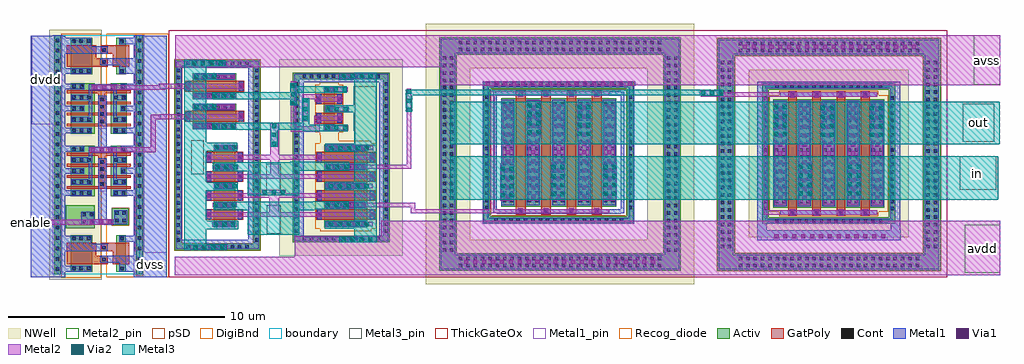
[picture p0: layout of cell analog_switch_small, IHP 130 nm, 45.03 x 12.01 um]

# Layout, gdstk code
from math import pi, radians
import gdstk
lib = gdstk.Library(unit=1e-6, precision=1e-09)
def R(c, l, rs):  # rectangles x0, y0, x1, y1
    for r in rs: c.add(gdstk.rectangle(r[:2], r[2:], *l))
def A(c, l, x, y, w, h, nx, ny, dx, dy):  # array of equal rectangles
    R(c, l, [(x+i*dx, y+j*dy, x+i*dx+w, y+j*dy+h) for i in range(nx) for j in range(ny)])
def P(c, l, *ps):  # polygons
    for p in ps: c.add(gdstk.Polygon(p, *l))
Activ = (1, 0)
GatPoly = (5, 0)
Cont = (6, 0)
Metal1 = (8, 0)
Metal1_pin = (8, 2)
Metal2 = (10, 0)
Metal2_pin = (10, 2)
pSD = (14, 0)
DigiBnd = (16, 0)
Via1 = (19, 0)
Via2 = (29, 0)
Metal3 = (30, 0)
Metal3_pin = (30, 2)
NWell = (31, 0)
ThickGateOx = (44, 0)
Recog_diode = (99, 31)
boundary = (189, 4)

via_y6zd6n = lib.new_cell('via_Y6ZD6N')
R(via_y6zd6n, Metal2, [(-0.1,-0.555,0.1,0.555)])
A(via_y6zd6n, Via2, -0.095, -0.505, 0.19, 0.19, 1, 3, 0, 0.41)
R(via_y6zd6n, Metal3, [(-0.145,-0.51,0.145,0.51)])

via_y6z86n = lib.new_cell('via_Y6Z86N')
R(via_y6z86n, Metal2, [(-0.1,-1.105,0.1,1.105)])
A(via_y6z86n, Via2, -0.095, -0.915, 0.19, 0.19, 1, 5, 0, 0.41)
R(via_y6z86n, Metal3, [(-0.145,-1.06,0.145,1.06)])

via_qp3u7v = lib.new_cell('via_QP3U7V')
R(via_qp3u7v, Metal1, [(-0.145,-0.825,0.145,0.825)])
R(via_qp3u7v, Metal2, [(-0.1,-0.865,0.1,0.865)])
A(via_qp3u7v, Via1, -0.095, -0.71, 0.19, 0.19, 1, 4, 0, 0.41)
A(via_qp3u7v, Via2, -0.095, -0.71, 0.19, 0.19, 1, 4, 0, 0.41)
R(via_qp3u7v, Metal3, [(-0.145,-0.82,0.145,0.82)])

sg13_hv_pmos_xrp95e = lib.new_cell('sg13_hv_pmos_XRP95E')
R(sg13_hv_pmos_xrp95e, Activ, [(-1.91,-1,1.91,1)])
A(sg13_hv_pmos_xrp95e, GatPoly, -1.57, -1.37, 0.5, 2.74, 4, 1, 0.88, 0)
A(sg13_hv_pmos_xrp95e, Cont, -1.4, -1.3, 0.16, 0.16, 4, 2, 0.88, 2.44)
A(sg13_hv_pmos_xrp95e, Cont, -1.84, -0.93, 0.16, 0.16, 5, 6, 0.88, 0.34)
A(sg13_hv_pmos_xrp95e, Metal1, -1.535, -1.325, 0.43, 0.21, 4, 2, 0.88, 2.44)
A(sg13_hv_pmos_xrp95e, Metal1, -1.91, -0.93, 0.3, 1.86, 5, 1, 0.88, 0)
A(sg13_hv_pmos_xrp95e, Metal2, -1.43, -1.365, 0.22, 0.29, 4, 2, 0.88, 2.44)
A(sg13_hv_pmos_xrp95e, Metal2, -1.86, -0.97, 0.2, 1.94, 5, 1, 0.88, 0)
R(sg13_hv_pmos_xrp95e, pSD, [(-1.97,-1.4,1.97,-1.18), (-2.09,-1.18,2.09,1.18), (-1.97,1.18,1.97,1.4)])
A(sg13_hv_pmos_xrp95e, Via1, -1.415, -1.315, 0.19, 0.19, 4, 2, 0.88, 2.44)
A(sg13_hv_pmos_xrp95e, Via1, -1.855, -0.915, 0.19, 0.19, 5, 5, 0.88, 0.41)
R(sg13_hv_pmos_xrp95e, NWell, [(-2.53,-1.62,2.53,1.62)])
R(sg13_hv_pmos_xrp95e, ThickGateOx, [(-2.18,-1.27,2.18,1.27)])
sg13_hv_pmos_xrp95e.add(gdstk.Label('D0', (-1.76,0), layer=8, texttype=25))
sg13_hv_pmos_xrp95e.add(gdstk.Label('G0', (-1.32,1.22), layer=8, texttype=25))
sg13_hv_pmos_xrp95e.add(gdstk.Label('S1', (-0.88,0), layer=8, texttype=25))
sg13_hv_pmos_xrp95e.add(gdstk.Label('G1', (-0.44,1.22), layer=8, texttype=25))
sg13_hv_pmos_xrp95e.add(gdstk.Label('D2', (0,0), layer=8, texttype=25))
sg13_hv_pmos_xrp95e.add(gdstk.Label('G2', (0.44,1.22), layer=8, texttype=25))
sg13_hv_pmos_xrp95e.add(gdstk.Label('S3', (0.88,0), layer=8, texttype=25))
sg13_hv_pmos_xrp95e.add(gdstk.Label('G3', (1.32,1.22), layer=8, texttype=25))

sg13_hv_pmos_2tuklb = lib.new_cell('sg13_hv_pmos_2TUKLB')
R(sg13_hv_pmos_2tuklb, Activ, [(-1.03,-0.25,1.03,0.25)])
R(sg13_hv_pmos_2tuklb, GatPoly, [(-0.69,-0.62,-0.19,0.62), (0.19,-0.62,0.69,0.62)])
A(sg13_hv_pmos_2tuklb, Cont, -0.96, -0.08, 0.16, 0.16, 3, 1, 0.88, 0)
R(sg13_hv_pmos_2tuklb, Cont, [(-0.52,-0.55,-0.36,-0.39), (0.36,-0.55,0.52,-0.39), (-0.52,0.39,-0.36,0.55), (0.36,0.39,0.52,0.55)])
A(sg13_hv_pmos_2tuklb, Metal1, -1.03, -0.18, 0.3, 0.36, 3, 1, 0.88, 0)
R(sg13_hv_pmos_2tuklb, Metal1, [(-0.655,-0.575,-0.225,-0.365), (0.225,-0.575,0.655,-0.365), (-0.655,0.365,-0.225,0.575), (0.225,0.365,0.655,0.575)])
A(sg13_hv_pmos_2tuklb, Metal2, -0.98, -0.22, 0.2, 0.44, 3, 1, 0.88, 0)
R(sg13_hv_pmos_2tuklb, Metal2, [(-0.55,-0.615,-0.33,-0.325), (0.33,-0.615,0.55,-0.325), (-0.55,0.325,-0.33,0.615), (0.33,0.325,0.55,0.615)])
R(sg13_hv_pmos_2tuklb, pSD, [(-1.09,-0.65,1.09,-0.43), (-1.21,-0.43,1.21,0.43), (-1.09,0.43,1.09,0.65)])
A(sg13_hv_pmos_2tuklb, Via1, -0.975, -0.095, 0.19, 0.19, 3, 1, 0.88, 0)
R(sg13_hv_pmos_2tuklb, Via1, [(-0.535,-0.565,-0.345,-0.375), (0.345,-0.565,0.535,-0.375), (-0.535,0.375,-0.345,0.565), (0.345,0.375,0.535,0.565)])
R(sg13_hv_pmos_2tuklb, NWell, [(-1.65,-0.87,1.65,0.87)])
R(sg13_hv_pmos_2tuklb, ThickGateOx, [(-1.3,-0.52,1.3,0.52)])
sg13_hv_pmos_2tuklb.add(gdstk.Label('D0', (-0.88,0), layer=8, texttype=25))
sg13_hv_pmos_2tuklb.add(gdstk.Label('G0', (-0.44,0.47), layer=8, texttype=25))
sg13_hv_pmos_2tuklb.add(gdstk.Label('S1', (0,0), layer=8, texttype=25))
sg13_hv_pmos_2tuklb.add(gdstk.Label('G1', (0.44,0.47), layer=8, texttype=25))

sg13_hv_nmos_hsmmzs = lib.new_cell('sg13_hv_nmos_HSMMZS')
R(sg13_hv_nmos_hsmmzs, Activ, [(-1.91,-0.5,1.91,0.5)])
A(sg13_hv_nmos_hsmmzs, GatPoly, -1.57, -0.87, 0.5, 1.74, 4, 1, 0.88, 0)
A(sg13_hv_nmos_hsmmzs, Cont, -1.4, -0.8, 0.16, 0.16, 4, 2, 0.88, 1.44)
A(sg13_hv_nmos_hsmmzs, Cont, -1.84, -0.42, 0.16, 0.16, 5, 3, 0.88, 0.34)
A(sg13_hv_nmos_hsmmzs, Metal1, -1.535, -0.825, 0.43, 0.21, 4, 2, 0.88, 1.44)
A(sg13_hv_nmos_hsmmzs, Metal1, -1.91, -0.43, 0.3, 0.86, 5, 1, 0.88, 0)
A(sg13_hv_nmos_hsmmzs, Metal2, -1.43, -0.865, 0.22, 0.29, 4, 2, 0.88, 1.44)
A(sg13_hv_nmos_hsmmzs, Metal2, -1.86, -0.47, 0.2, 0.94, 5, 1, 0.88, 0)
A(sg13_hv_nmos_hsmmzs, Via1, -1.415, -0.815, 0.19, 0.19, 4, 2, 0.88, 1.44)
A(sg13_hv_nmos_hsmmzs, Via1, -1.855, -0.3, 0.19, 0.19, 5, 2, 0.88, 0.41)
R(sg13_hv_nmos_hsmmzs, ThickGateOx, [(-2.18,-0.77,2.18,0.77)])
sg13_hv_nmos_hsmmzs.add(gdstk.Label('D0', (-1.76,0), layer=8, texttype=25))
sg13_hv_nmos_hsmmzs.add(gdstk.Label('G0', (-1.32,0.72), layer=8, texttype=25))
sg13_hv_nmos_hsmmzs.add(gdstk.Label('S1', (-0.88,0), layer=8, texttype=25))
sg13_hv_nmos_hsmmzs.add(gdstk.Label('G1', (-0.44,0.72), layer=8, texttype=25))
sg13_hv_nmos_hsmmzs.add(gdstk.Label('D2', (0,0), layer=8, texttype=25))
sg13_hv_nmos_hsmmzs.add(gdstk.Label('G2', (0.44,0.72), layer=8, texttype=25))
sg13_hv_nmos_hsmmzs.add(gdstk.Label('S3', (0.88,0), layer=8, texttype=25))
sg13_hv_nmos_hsmmzs.add(gdstk.Label('G3', (1.32,0.72), layer=8, texttype=25))

sg13_hv_nmos_cj33wb = lib.new_cell('sg13_hv_nmos_CJ33WB')
R(sg13_hv_nmos_cj33wb, Activ, [(-1.285,-1,-0.105,1), (0.105,-1,1.285,1)])
R(sg13_hv_nmos_cj33wb, GatPoly, [(-0.945,-1.37,-0.445,1.37), (0.445,-1.37,0.945,1.37)])
A(sg13_hv_nmos_cj33wb, Cont, -1.215, -0.93, 0.16, 0.16, 1, 6, 0, 0.34)
A(sg13_hv_nmos_cj33wb, Cont, -0.335, -0.93, 0.16, 0.16, 1, 6, 0, 0.34)
A(sg13_hv_nmos_cj33wb, Cont, 0.175, -0.93, 0.16, 0.16, 1, 6, 0, 0.34)
A(sg13_hv_nmos_cj33wb, Cont, 1.055, -0.93, 0.16, 0.16, 1, 6, 0, 0.34)
R(sg13_hv_nmos_cj33wb, Cont, [(-0.775,-1.3,-0.615,-1.14), (0.615,-1.3,0.775,-1.14), (-0.775,1.14,-0.615,1.3), (0.615,1.14,0.775,1.3)])
R(sg13_hv_nmos_cj33wb, Metal1, [(-0.91,-1.325,-0.48,-1.115), (0.48,-1.325,0.91,-1.115), (-1.285,-0.93,-0.985,0.93), (-0.405,-0.93,-0.105,0.93), (0.105,-0.93,0.405,0.93), (0.985,-0.93,1.285,0.93), (-0.91,1.115,-0.48,1.325), (0.48,1.115,0.91,1.325)])
R(sg13_hv_nmos_cj33wb, Metal2, [(-0.835,-1.365,-0.555,-1.075), (0.555,-1.365,0.835,-1.075), (-1.235,-0.97,-1.035,0.97), (-0.355,-0.97,-0.155,0.97), (0.155,-0.97,0.355,0.97), (1.035,-0.97,1.235,0.97), (-0.835,1.075,-0.555,1.365), (0.555,1.075,0.835,1.365)])
A(sg13_hv_nmos_cj33wb, Via1, -1.23, -0.915, 0.19, 0.19, 1, 5, 0, 0.41)
A(sg13_hv_nmos_cj33wb, Via1, -0.35, -0.915, 0.19, 0.19, 1, 5, 0, 0.41)
A(sg13_hv_nmos_cj33wb, Via1, 0.16, -0.915, 0.19, 0.19, 1, 5, 0, 0.41)
A(sg13_hv_nmos_cj33wb, Via1, 1.04, -0.915, 0.19, 0.19, 1, 5, 0, 0.41)
R(sg13_hv_nmos_cj33wb, Via1, [(-0.79,-1.315,-0.6,-1.125), (0.6,-1.315,0.79,-1.125), (-0.79,1.125,-0.6,1.315), (0.6,1.125,0.79,1.315)])
R(sg13_hv_nmos_cj33wb, ThickGateOx, [(-1.555,-1.27,1.555,1.27)])
sg13_hv_nmos_cj33wb.add(gdstk.Label('D0', (-1.135,0), layer=8, texttype=25))
sg13_hv_nmos_cj33wb.add(gdstk.Label('S0', (-0.255,0), layer=8, texttype=25))
sg13_hv_nmos_cj33wb.add(gdstk.Label('G0', (-0.695,1.22), layer=8, texttype=25))
sg13_hv_nmos_cj33wb.add(gdstk.Label('D1', (1.135,0), layer=8, texttype=25))
sg13_hv_nmos_cj33wb.add(gdstk.Label('S1', (0.255,0), layer=8, texttype=25))
sg13_hv_nmos_cj33wb.add(gdstk.Label('G1', (0.695,1.22), layer=8, texttype=25))

sw_lvl_shift = lib.new_cell('sw_lvl_shift')
R(sw_lvl_shift, Activ, [(-5.57,2.34,3.22,2.64), (-5.57,2.64,-5.27,5.97), (2.92,2.64,3.22,5.97), (-5.57,5.97,3.22,6.27), (-4.98,7.77,2.85,8.07), (-4.98,8.07,-4.68,11.94), (2.55,8.07,2.85,11.94), (-4.98,11.94,2.85,12.24)])
A(sw_lvl_shift, Cont, -5.165, 2.41, 0.16, 0.16, 24, 2, 0.34, 3.63)
A(sw_lvl_shift, Cont, -5.5, 2.865, 0.16, 0.16, 1, 9, 0, 0.34)
A(sw_lvl_shift, Cont, 2.99, 2.865, 0.16, 0.16, 1, 9, 0, 0.34)
A(sw_lvl_shift, Cont, -4.545, 7.84, 0.16, 0.16, 21, 2, 0.34, 4.17)
A(sw_lvl_shift, Cont, -4.91, 8.225, 0.16, 0.16, 1, 11, 0, 0.34)
A(sw_lvl_shift, Cont, 2.62, 8.225, 0.16, 0.16, 1, 11, 0, 0.34)
R(sw_lvl_shift, Metal1, [(-5.5,2.41,3.15,2.65), (-5.5,2.65,-5.21,5.73), (2.74,2.65,3.15,5.73), (-5.5,5.73,3.15,6.2), (-4.91,7.84,2.78,7.92), (-4.92,7.92,2.78,8.29), (-4.92,8.29,-4.53,11.76), (2.62,8.29,2.78,11.76), (-4.92,11.76,2.78,12.17)])
R(sw_lvl_shift, Metal2, [(-4.46,1.585,-4.24,5.455), (-3.05,1.665,-2.83,5.35), (-1.18,3.81,-0.96,6.745), (-0.3,3.81,-0.08,6.745), (0.58,3.81,0.8,6.685), (1.46,3.81,1.68,6.685), (0.54,6.685,1.68,7.135), (-2.655,6.745,-0.08,7.12), (-1.18,7.12,-0.96,11.53), (-0.3,7.12,-0.08,11.53), (0.58,7.135,0.8,11.53), (1.46,7.135,1.68,11.53), (-4.58,7.68,-2.245,7.93), (-2.495,7.93,-2.245,8.765), (-3.98,8.24,-2.82,8.47), (-3.98,8.47,-3.75,8.8), (-2.98,8.765,-2.245,9.015), (-3.98,8.8,-3.64,9.025), (-2.98,9.015,-2.76,9.95), (-3.86,9.025,-3.64,9.95)])
R(sw_lvl_shift, Metal2_pin, [(-4.46,1.64,-4.24,2.16), (-3.05,1.665,-2.83,2.185)])
R(sw_lvl_shift, pSD, [(-5.6,2.31,3.25,2.67), (-5.6,2.67,-5.24,5.94), (2.89,2.67,3.25,5.94), (-5.6,5.94,3.25,6.3), (-2.11,9.04,-1.84,9.89)])
R(sw_lvl_shift, Metal3, [(-5.58,2.78,3.22,3.79), (-1.74,3.79,-1.36,5.22), (0.08,3.79,0.46,5.23), (1.86,3.79,2.24,5.25), (-4.07,4.07,-3.76,7.73), (-2.66,4.07,-2.35,6.765), (-0.84,4.09,-0.43,5.7), (0.98,4.13,1.36,5.7), (-0.84,5.7,0.68,7.65), (0.98,5.7,2.5,8.07), (-2.66,6.765,-1.56,7.075), (-2.66,7.075,-2.35,8.22), (-0.87,7.65,0.68,8.07), (-4.36,7.73,-3.76,7.95), (-4.36,7.95,-4.05,9.55), (-0.87,8.07,-0.45,10.38), (0.98,8.07,1.36,8.73), (-3.8,8.22,-2.35,8.23), (-3.8,8.23,-2.275,8.53), (-2.585,8.53,-2.275,10.32), (0.95,8.73,1.36,8.76), (0.95,8.76,1.33,10.35), (1.85,9.25,2.23,10.62), (-1.7,9.27,-1.32,10.62), (0.06,9.27,0.44,10.62), (-3.47,9.74,-3.16,10.6), (-4.35,10.6,-2.3,10.62), (-4.97,10.62,2.845,11.65)])
R(sw_lvl_shift, Metal3_pin, [(-1.85,3.1,-0.3,3.66), (-0.77,6.56,0.58,7.21), (1.13,6.58,2.46,7.22), (-4.36,10.64,-1.64,11.62)])
R(sw_lvl_shift, NWell, [(-5.6,7.15,3.47,12.86)])
R(sw_lvl_shift, ThickGateOx, [(-5,2.06,3.49,2.065), (-5.085,2.065,3.49,2.07), (-5.84,2.07,3.49,2.825), (-5.845,2.825,3.495,2.91), (-5.85,2.91,3.5,2.92), (-5.85,2.92,-4.905,2.925), (-2.1,2.92,-2.005,2.925), (2.635,2.92,3.5,3.86), (-5.85,2.925,-4.985,3.005), (-5.85,3.005,-4.99,5.43), (-2.1,3.86,-1.93,5.4), (2.43,3.86,3.5,5.4), (-2.1,5.4,3.5,5.43), (-5.85,5.43,3.5,5.7), (-5.85,5.7,3.495,5.795), (-5.85,5.795,3.49,5.995), (-5.84,5.995,3.49,6.54), (-4.41,7.49,3.12,7.495), (-4.495,7.495,3.12,7.5), (-5.25,7.5,3.12,8.21), (-5.26,8.21,3.12,8.215), (-5.26,8.215,3.13,8.94), (-5.26,8.94,-4.4,11.575), (-2.02,8.94,3.13,8.95), (-2.02,8.95,-1.93,9.98), (2.27,8.95,3.13,11.49), (-1.93,11.49,3.13,11.67), (-5.26,11.575,-4.395,11.67), (-5.255,11.67,3.13,11.765), (-5.25,11.765,3.13,12.01), (-5.25,12.01,3.12,12.51)])
sw_lvl_shift.add(gdstk.Reference(via_y6zd6n, (2.025,4.625)))
sw_lvl_shift.add(gdstk.Reference(via_y6zd6n, (0.265,4.675)))
sw_lvl_shift.add(gdstk.Reference(via_y6zd6n, (-1.535,4.675)))
sw_lvl_shift.add(gdstk.Reference(via_y6zd6n, (1.135,4.635)))
sw_lvl_shift.add(gdstk.Reference(via_y6zd6n, (-0.625,4.715)))
sw_lvl_shift.add(gdstk.Reference(via_y6zd6n, (-2.43,9.785), rotation=pi))
sw_lvl_shift.add(gdstk.Reference(via_y6zd6n, (-3.305,9.805), rotation=pi))
sw_lvl_shift.add(gdstk.Reference(via_y6zd6n, (-4.2,9.765), rotation=pi))
sw_lvl_shift.add(gdstk.Reference(via_y6zd6n, (-0.635,9.825)))
sw_lvl_shift.add(gdstk.Reference(via_y6zd6n, (0.535,6.895), rotation=pi))
sw_lvl_shift.add(gdstk.Reference(via_y6zd6n, (-2.105,6.915), rotation=3*pi/2))
sw_lvl_shift.add(gdstk.Reference(via_y6zd6n, (-3.295,8.365), rotation=3*pi/2))
sw_lvl_shift.add(gdstk.Reference(via_y6zd6n, (-3.975,7.805), rotation=3*pi/2))
sw_lvl_shift.add(gdstk.Reference(via_y6zd6n, (-2.495,4.605)))
sw_lvl_shift.add(gdstk.Reference(via_y6zd6n, (-3.915,4.585)))
sw_lvl_shift.add(gdstk.Reference(via_y6zd6n, (1.135,9.805)))
sw_lvl_shift.add(gdstk.Reference(via_y6zd6n, (-3.405,3.745)))
sw_lvl_shift.add(gdstk.Reference(via_y6zd6n, (-4.795,3.74)))
sw_lvl_shift.add(gdstk.Reference(via_y6z86n, (2.01,10.355), x_reflection=True))
sw_lvl_shift.add(gdstk.Reference(via_y6z86n, (-1.495,10.375), x_reflection=True))
sw_lvl_shift.add(gdstk.Reference(via_y6z86n, (0.255,10.355), x_reflection=True))
sw_lvl_shift.add(gdstk.Reference(via_qp3u7v, (3.075,3.905)))
sw_lvl_shift.add(gdstk.Reference(via_qp3u7v, (2.705,10.735)))
sw_lvl_shift.add(gdstk.Reference(via_qp3u7v, (-5.415,3.835)))
sw_lvl_shift.add(gdstk.Reference(via_qp3u7v, (-4.805,10.745)))
sw_lvl_shift.add(gdstk.Reference(sg13_hv_pmos_xrp95e, (0.25,10.22)))
sw_lvl_shift.add(gdstk.Reference(sg13_hv_pmos_2tuklb, (-3.32,9.46)))
sw_lvl_shift.add(gdstk.Reference(sg13_hv_nmos_hsmmzs, (0.25,4.63)))
sw_lvl_shift.add(gdstk.Reference(sg13_hv_nmos_cj33wb, (-3.655,4.16)))
sw_lvl_shift.add(gdstk.Label('in_n', (-2.94,1.925), layer=10, texttype=25))
sw_lvl_shift.add(gdstk.Label('in_p', (-4.35,1.9), layer=10, texttype=25))
sw_lvl_shift.add(gdstk.Label('vdd', (-3,11.13), layer=30, texttype=25))
sw_lvl_shift.add(gdstk.Label('vss', (-1.075,3.38), layer=30, texttype=25))
sw_lvl_shift.add(gdstk.Label('out', (1.795,6.9), layer=30, texttype=25))
sw_lvl_shift.add(gdstk.Label('outn', (-0.095,6.885), layer=30, texttype=25))

sg13cmos5l_inv_4 = lib.new_cell('sg13cmos5l_inv_4')
R(sg13cmos5l_inv_4, Activ, [(0,-0.15,2.88,0.15), (0.245,0.59,2.585,1.33), (0.245,2.06,2.585,3.18), (0,3.63,2.88,3.93)])
P(sg13cmos5l_inv_4, GatPoly, [(0.585,0.41),(0.585,3.36),(0.715,3.36),(0.715,1.9),(1.095,1.9),(1.095,3.36),(1.225,3.36),(1.225,1.9),(1.605,1.9),(1.605,3.36),(1.735,3.36),(1.735,1.9),(2.115,1.9),(2.115,3.36),(2.245,3.36),(2.245,0.41),(2.115,0.41),(2.115,1.57),(1.735,1.57),(1.735,0.41),(1.605,0.41),(1.605,1.57),(1.225,1.57),(1.225,0.41),(1.095,0.41),(1.095,1.57),(0.715,1.57),(0.715,0.41)])
A(sg13cmos5l_inv_4, Cont, 0.315, 0.66, 0.16, 0.16, 5, 2, 0.51, 2.285)
A(sg13cmos5l_inv_4, Cont, 0.735, 1.655, 0.16, 0.16, 4, 1, 0.34, 0)
R(sg13cmos5l_inv_4, Cont, [(0.16,-0.08,0.32,0.08), (0.16,-0.08,0.32,0.08), (0.64,-0.08,0.8,0.08), (0.64,-0.08,0.8,0.08), (1.12,-0.08,1.28,0.08), (1.12,-0.08,1.28,0.08), (1.6,-0.08,1.76,0.08), (1.6,-0.08,1.76,0.08), (2.08,-0.08,2.24,0.08), (2.08,-0.08,2.24,0.08), (2.56,-0.08,2.72,0.08), (2.56,-0.08,2.72,0.08), (0.315,1,0.475,1.16), (0.825,1,0.985,1.16), (1.845,1,2.005,1.16), (0.315,2.255,0.475,2.415), (0.825,2.255,0.985,2.415), (1.845,2.255,2.005,2.415), (1.335,2.595,1.495,2.755), (2.355,2.595,2.515,2.755), (0.315,2.605,0.475,2.765), (0.825,2.605,0.985,2.765), (1.845,2.605,2.005,2.765), (0.16,3.7,0.32,3.86), (0.16,3.7,0.32,3.86), (0.64,3.7,0.8,3.86), (0.64,3.7,0.8,3.86), (1.12,3.7,1.28,3.86), (1.12,3.7,1.28,3.86), (1.6,3.7,1.76,3.86), (1.6,3.7,1.76,3.86), (2.08,3.7,2.24,3.86), (2.08,3.7,2.24,3.86), (2.56,3.7,2.72,3.86), (2.56,3.7,2.72,3.86)])
R(sg13cmos5l_inv_4, Metal1, [(0.48,1.52,2,1.9)])
P(sg13cmos5l_inv_4, Metal1, [(0,-0.22),(0,0.22),(0.265,0.22),(0.265,1.21),(0.525,1.21),(0.525,0.22),(1.28,0.22),(1.28,0.87),(1.55,0.87),(1.55,0.22),(2.305,0.22),(2.305,0.87),(2.565,0.87),(2.565,0.22),(2.88,0.22),(2.88,-0.22)],
  [(0.265,2.205),(0.265,3.56),(0,3.56),(0,4),(2.88,4),(2.88,3.56),(2.565,3.56),(2.565,2.545),(2.305,2.545),(2.305,3.56),(1.545,3.56),(1.545,2.545),(1.285,2.545),(1.285,3.56),(0.525,3.56),(0.525,2.205)],
  [(0.775,0.61),(0.775,1.21),(2.245,1.21),(2.245,2.17),(0.775,2.17),(0.775,3.155),(1.035,3.155),(1.035,2.34),(1.795,2.34),(1.795,3.155),(2.055,3.155),(2.055,2.34),(2.54,2.34),(2.54,1.05),(2.055,1.05),(2.055,0.61),(1.795,0.61),(1.795,1.05),(1.035,1.05),(1.035,0.61)])
R(sg13cmos5l_inv_4, Metal1_pin, [(0,-0.22,2.88,0.22), (2.245,1.05,2.54,2.34), (0.48,1.52,2,1.9), (0,3.56,2.88,4)])
R(sg13cmos5l_inv_4, pSD, [(-0.07,-0.18,2.95,0.18), (-0.07,1.76,2.95,3.6)])
R(sg13cmos5l_inv_4, NWell, [(-0.24,1.75,3.12,4.17)])
R(sg13cmos5l_inv_4, boundary, [(0,0,2.88,3.78)])
sg13cmos5l_inv_4.add(gdstk.Label('VSS', (1.405,0.005), layer=8, texttype=25))
sg13cmos5l_inv_4.add(gdstk.Label('Y', (2.4,1.68), layer=8, texttype=25))
sg13cmos5l_inv_4.add(gdstk.Label('VDD', (1.925,3.8), layer=8, texttype=25))
sg13cmos5l_inv_4.add(gdstk.Label('A', (0.96,1.68), layer=8, texttype=25))

sg13cmos5l_decap_4 = lib.new_cell('sg13cmos5l_decap_4')
R(sg13cmos5l_decap_4, Activ, [(0,-0.15,1.92,0.15), (0.12,0.645,1.8,1.065), (0.12,2.18,1.8,3.18), (0,3.63,1.92,3.93)])
P(sg13cmos5l_decap_4, GatPoly, [(0.46,0.465),(0.46,1.245),(1.065,1.245),(1.065,1.8),(1.46,1.8),(1.46,0.465)],
  [(0.46,1.475),(0.46,3.36),(1.46,3.36),(1.46,2),(0.855,2),(0.855,1.475)])
A(sg13cmos5l_decap_4, Cont, 0.16, -0.08, 0.16, 0.16, 4, 2, 0.48, 3.78)
A(sg13cmos5l_decap_4, Cont, 0.19, 2.27, 0.16, 0.16, 1, 3, 0, 0.34)
A(sg13cmos5l_decap_4, Cont, 1.57, 2.27, 0.16, 0.16, 1, 3, 0, 0.34)
R(sg13cmos5l_decap_4, Cont, [(0.19,0.72,0.35,0.88), (1.57,0.72,1.73,0.88), (1.15,1.555,1.31,1.715), (0.61,1.56,0.77,1.72)])
P(sg13cmos5l_decap_4, Metal1, [(1.065,1.47),(1.065,3.56),(0.4,3.56),(0.4,2.22),(0.13,2.22),(0.13,3.56),(0,3.56),(0,4),(1.92,4),(1.92,3.56),(1.79,3.56),(1.79,2.22),(1.405,2.22),(1.405,1.47)],
  [(0,-0.22),(0,0.22),(0.13,0.22),(0.13,0.935),(0.53,0.935),(0.53,1.805),(0.855,1.805),(0.855,0.22),(1.51,0.22),(1.51,0.935),(1.79,0.935),(1.79,0.22),(1.92,0.22),(1.92,-0.22)])
R(sg13cmos5l_decap_4, Metal1_pin, [(0,-0.22,1.92,0.22), (0,3.56,1.92,4)])
R(sg13cmos5l_decap_4, pSD, [(-0.07,-0.18,1.99,0.18), (-0.16,1.76,1.99,3.6)])
R(sg13cmos5l_decap_4, NWell, [(-0.24,1.75,2.16,4.17)])
R(sg13cmos5l_decap_4, boundary, [(0,0,1.92,3.78)])
sg13cmos5l_decap_4.add(gdstk.Label('VSS', (1.08,0), layer=8, texttype=25))
sg13cmos5l_decap_4.add(gdstk.Label('VDD', (0.95,3.78), layer=8, texttype=25))

sg13cmos5l_antennanp = lib.new_cell('sg13cmos5l_antennanp')
R(sg13cmos5l_antennanp, Activ, [(0,-0.15,1.44,0.15), (0.35,0.49,1.13,1.27), (0.215,2.06,1.265,3.4), (0,3.63,1.44,3.93)])
A(sg13cmos5l_antennanp, Cont, 0.16, -0.08, 0.16, 0.16, 3, 2, 0.48, 3.78)
R(sg13cmos5l_antennanp, Cont, [(0.16,-0.08,0.32,0.08), (0.49,0.63,0.65,0.79), (0.83,0.63,0.99,0.79), (0.49,0.97,0.65,1.13), (0.83,0.97,0.99,1.13), (0.43,2.13,0.59,2.29), (0.77,2.13,0.93,2.29), (0.43,2.47,0.59,2.63), (0.77,2.47,0.93,2.63), (0.16,3.7,0.32,3.86)])
R(sg13cmos5l_antennanp, Metal1, [(0,-0.22,1.44,0.22), (0.38,2.08,0.98,2.68), (0,3.56,1.44,4)])
P(sg13cmos5l_antennanp, Metal1, [(0.405,0.57),(0.405,1.13),(0.38,1.13),(0.38,2.41),(0.63,2.41),(0.63,1.16),(1.05,1.16),(1.05,0.57)])
R(sg13cmos5l_antennanp, Metal1_pin, [(0,-0.22,1.44,0.22), (0.38,1.13,0.63,2.41), (0,3.56,1.44,4)])
R(sg13cmos5l_antennanp, pSD, [(-0.07,-0.18,1.51,0.18), (-0.07,1.76,1.51,3.6)])
R(sg13cmos5l_antennanp, NWell, [(-0.24,1.75,1.68,4.17)])
R(sg13cmos5l_antennanp, Recog_diode, [(0.33,0.47,1.15,1.29), (0.215,2.06,1.265,3.4)])
R(sg13cmos5l_antennanp, boundary, [(0,0,1.44,3.78)])
sg13cmos5l_antennanp.add(gdstk.Label('VDD', (0.495,3.78), layer=8, texttype=25))
sg13cmos5l_antennanp.add(gdstk.Label('VSS', (0.49,0), layer=8, texttype=25))
sg13cmos5l_antennanp.add(gdstk.Label('A', (0.505,1.64), layer=8, texttype=25))
sg13cmos5l_antennanp.add(gdstk.Label('dant', (0.74,0.88), layer=63, texttype=0))
sg13cmos5l_antennanp.add(gdstk.Label('dpant', (0.695,2.29), layer=63, texttype=0))

sg13_hv_nmos_u4hmwb = lib.new_cell('sg13_hv_nmos_U4HMWB')
R(sg13_hv_nmos_u4hmwb, Activ, [(-3.45,-3.24,3.45,-2.94), (-3.45,-2.94,-3.15,2.94), (3.15,-2.94,3.45,2.94), (-2.66,-2.5,2.66,2.5), (-3.45,2.94,3.45,3.24)])
A(sg13_hv_nmos_u4hmwb, GatPoly, -1.98, -2.87, 0.45, 5.74, 4, 1, 1.17, 0)
A(sg13_hv_nmos_u4hmwb, Cont, -2.97, -3.17, 0.16, 0.16, 18, 2, 0.34, 6.18)
A(sg13_hv_nmos_u4hmwb, Cont, -1.835, -2.8, 0.16, 0.16, 4, 2, 1.17, 5.44)
A(sg13_hv_nmos_u4hmwb, Cont, -3.38, -2.63, 0.16, 0.16, 1, 16, 0, 0.34)
A(sg13_hv_nmos_u4hmwb, Cont, 3.22, -2.63, 0.16, 0.16, 1, 16, 0, 0.34)
A(sg13_hv_nmos_u4hmwb, Cont, -2.59, -2.29, 0.16, 0.16, 1, 14, 0, 0.34)
A(sg13_hv_nmos_u4hmwb, Cont, -2.25, -2.29, 0.16, 0.16, 1, 14, 0, 0.34)
A(sg13_hv_nmos_u4hmwb, Cont, -1.42, -2.29, 0.16, 0.16, 1, 14, 0, 0.34)
A(sg13_hv_nmos_u4hmwb, Cont, -1.08, -2.29, 0.16, 0.16, 1, 14, 0, 0.34)
A(sg13_hv_nmos_u4hmwb, Cont, -0.25, -2.29, 0.16, 0.16, 1, 14, 0, 0.34)
A(sg13_hv_nmos_u4hmwb, Cont, 0.09, -2.29, 0.16, 0.16, 1, 14, 0, 0.34)
A(sg13_hv_nmos_u4hmwb, Cont, 0.92, -2.29, 0.16, 0.16, 1, 14, 0, 0.34)
A(sg13_hv_nmos_u4hmwb, Cont, 1.26, -2.29, 0.16, 0.16, 1, 14, 0, 0.34)
A(sg13_hv_nmos_u4hmwb, Cont, 2.09, -2.29, 0.16, 0.16, 1, 14, 0, 0.34)
A(sg13_hv_nmos_u4hmwb, Cont, 2.43, -2.29, 0.16, 0.16, 1, 14, 0, 0.34)
A(sg13_hv_nmos_u4hmwb, Metal1, -2.64, -2.43, 0.6, 4.86, 5, 1, 1.17, 0)
R(sg13_hv_nmos_u4hmwb, Metal1, [(-3.38,-3.17,3.38,-3.01), (-3.38,-3.01,-3.22,3.01), (3.22,-3.01,3.38,3.01), (-2.87,-2.825,2.87,-2.8), (-3.02,-2.8,3.02,-2.615), (-3.02,-2.615,-2.86,2.615), (2.86,-2.615,3.02,2.615), (-3.02,2.615,3.02,2.8), (-2.87,2.8,2.87,2.825), (-3.38,3.01,3.38,3.17)])
A(sg13_hv_nmos_u4hmwb, Metal2, -1.86, -2.865, 0.21, 0.045, 4, 2, 1.17, 0.245)
A(sg13_hv_nmos_u4hmwb, Metal2, -2.585, -2.23, 0.49, 4.46, 5, 1, 1.17, 0)
A(sg13_hv_nmos_u4hmwb, Metal2, -1.86, 2.575, 0.21, 0.045, 4, 2, 1.17, 0.245)
R(sg13_hv_nmos_u4hmwb, Metal2, [(-2.34,-2.82,2.34,-2.62), (-2.34,2.62,2.34,2.82)])
R(sg13_hv_nmos_u4hmwb, pSD, [(-3.48,-3.27,3.48,-2.91), (-3.48,-2.91,-3.12,2.91), (3.12,-2.91,3.48,2.91), (-3.48,2.91,3.48,3.27)])
A(sg13_hv_nmos_u4hmwb, Via1, -1.85, -2.815, 0.19, 0.19, 4, 2, 1.17, 5.44)
A(sg13_hv_nmos_u4hmwb, Via1, -2.435, -2.145, 0.19, 0.19, 5, 11, 1.17, 0.41)
R(sg13_hv_nmos_u4hmwb, ThickGateOx, [(-3.72,-3.51,3.72,3.51)])
R(sg13_hv_nmos_u4hmwb, boundary, [(-3.3,-3.09,3.3,3.09)])
sg13_hv_nmos_u4hmwb.add(gdstk.Label('B', (0,-3.09), layer=8, texttype=25))
sg13_hv_nmos_u4hmwb.add(gdstk.Label('D0', (-2.34,0), layer=8, texttype=25))
sg13_hv_nmos_u4hmwb.add(gdstk.Label('G', (1.755,2.72), layer=8, texttype=25))
sg13_hv_nmos_u4hmwb.add(gdstk.Label('G', (0.585,2.72), layer=8, texttype=25))
sg13_hv_nmos_u4hmwb.add(gdstk.Label('G', (-0.585,2.72), layer=8, texttype=25))
sg13_hv_nmos_u4hmwb.add(gdstk.Label('G', (-1.755,2.72), layer=8, texttype=25))
sg13_hv_nmos_u4hmwb.add(gdstk.Label('S1', (-1.17,0), layer=8, texttype=25))
sg13_hv_nmos_u4hmwb.add(gdstk.Label('D2', (0,0), layer=8, texttype=25))
sg13_hv_nmos_u4hmwb.add(gdstk.Label('S3', (1.17,0), layer=8, texttype=25))

via_nn8lkn = lib.new_cell('via_NN8LKN')
R(via_nn8lkn, Metal2, [(-0.305,-0.865,0.305,0.865)])
A(via_nn8lkn, Via2, -0.3, -0.71, 0.19, 0.19, 1, 4, 0, 0.41)
A(via_nn8lkn, Via2, 0.11, -0.71, 0.19, 0.19, 1, 4, 0, 0.41)
R(via_nn8lkn, Metal3, [(-0.35,-0.82,0.35,0.82)])

sg13_hv_pmos_hvfxc8 = lib.new_cell('sg13_hv_pmos_HVFXC8')
R(sg13_hv_pmos_hvfxc8, Activ, [(-3.07,-3.24,3.07,-2.94), (-3.07,-2.94,-2.77,2.94), (2.77,-2.94,3.07,2.94), (-2.56,-2.5,2.56,2.5), (-3.07,2.94,3.07,3.24)])
A(sg13_hv_pmos_hvfxc8, GatPoly, -1.88, -2.87, 0.4, 5.74, 4, 1, 1.12, 0)
A(sg13_hv_pmos_hvfxc8, Cont, -2.46, -3.17, 0.16, 0.16, 15, 2, 0.34, 6.18)
A(sg13_hv_pmos_hvfxc8, Cont, -1.76, -2.8, 0.16, 0.16, 4, 2, 1.12, 5.44)
A(sg13_hv_pmos_hvfxc8, Cont, -3, -2.63, 0.16, 0.16, 1, 16, 0, 0.34)
A(sg13_hv_pmos_hvfxc8, Cont, 2.84, -2.63, 0.16, 0.16, 1, 16, 0, 0.34)
A(sg13_hv_pmos_hvfxc8, Cont, -2.49, -2.29, 0.16, 0.16, 1, 14, 0, 0.34)
A(sg13_hv_pmos_hvfxc8, Cont, -2.15, -2.29, 0.16, 0.16, 1, 14, 0, 0.34)
A(sg13_hv_pmos_hvfxc8, Cont, -1.37, -2.29, 0.16, 0.16, 1, 14, 0, 0.34)
A(sg13_hv_pmos_hvfxc8, Cont, -1.03, -2.29, 0.16, 0.16, 1, 14, 0, 0.34)
A(sg13_hv_pmos_hvfxc8, Cont, -0.25, -2.29, 0.16, 0.16, 1, 14, 0, 0.34)
A(sg13_hv_pmos_hvfxc8, Cont, 0.09, -2.29, 0.16, 0.16, 1, 14, 0, 0.34)
A(sg13_hv_pmos_hvfxc8, Cont, 0.87, -2.29, 0.16, 0.16, 1, 14, 0, 0.34)
A(sg13_hv_pmos_hvfxc8, Cont, 1.21, -2.29, 0.16, 0.16, 1, 14, 0, 0.34)
A(sg13_hv_pmos_hvfxc8, Cont, 1.99, -2.29, 0.16, 0.16, 1, 14, 0, 0.34)
A(sg13_hv_pmos_hvfxc8, Cont, 2.33, -2.29, 0.16, 0.16, 1, 14, 0, 0.34)
A(sg13_hv_pmos_hvfxc8, Metal1, -2.54, -2.43, 0.6, 4.86, 5, 1, 1.12, 0)
R(sg13_hv_pmos_hvfxc8, Metal1, [(-3,-3.17,3,-3.01), (-3,-3.01,-2.84,3.01), (2.84,-3.01,3,3.01), (-2.24,-2.825,2.24,-2.615), (-2.24,2.615,2.24,2.825), (-3,3.01,3,3.17)])
A(sg13_hv_pmos_hvfxc8, Metal2, -1.81, -2.865, 0.26, 0.045, 4, 2, 1.12, 0.245)
A(sg13_hv_pmos_hvfxc8, Metal2, -2.485, -2.365, 0.49, 4.73, 5, 1, 1.12, 0)
A(sg13_hv_pmos_hvfxc8, Metal2, -1.81, 2.575, 0.26, 0.045, 4, 2, 1.12, 0.245)
R(sg13_hv_pmos_hvfxc8, Metal2, [(-2.24,-2.82,2.24,-2.62), (-2.24,2.62,2.24,2.82)])
R(sg13_hv_pmos_hvfxc8, pSD, [(-2.28,-2.9,2.28,-2.68), (-2.74,-2.68,2.74,2.68), (-2.28,2.68,2.28,2.9)])
A(sg13_hv_pmos_hvfxc8, Via1, -1.775, -2.815, 0.19, 0.19, 4, 2, 1.12, 5.44)
A(sg13_hv_pmos_hvfxc8, Via1, -2.335, -2.145, 0.19, 0.19, 5, 11, 1.12, 0.41)
R(sg13_hv_pmos_hvfxc8, NWell, [(-3.69,-3.86,3.69,3.86)])
R(sg13_hv_pmos_hvfxc8, ThickGateOx, [(-3.34,-3.51,3.34,3.51)])
R(sg13_hv_pmos_hvfxc8, boundary, [(-2.92,-3.09,2.92,3.09)])
sg13_hv_pmos_hvfxc8.add(gdstk.Label('B', (0,-3.09), layer=8, texttype=25))
sg13_hv_pmos_hvfxc8.add(gdstk.Label('D0', (-2.24,0), layer=8, texttype=25))
sg13_hv_pmos_hvfxc8.add(gdstk.Label('G', (1.68,2.72), layer=8, texttype=25))
sg13_hv_pmos_hvfxc8.add(gdstk.Label('G', (0.56,2.72), layer=8, texttype=25))
sg13_hv_pmos_hvfxc8.add(gdstk.Label('G', (-0.56,2.72), layer=8, texttype=25))
sg13_hv_pmos_hvfxc8.add(gdstk.Label('G', (-1.68,2.72), layer=8, texttype=25))
sg13_hv_pmos_hvfxc8.add(gdstk.Label('S1', (-1.12,0), layer=8, texttype=25))
sg13_hv_pmos_hvfxc8.add(gdstk.Label('D2', (0,0), layer=8, texttype=25))
sg13_hv_pmos_hvfxc8.add(gdstk.Label('S3', (1.12,0), layer=8, texttype=25))

analog_switch_small = lib.new_cell('analog_switch_small')
R(analog_switch_small, Activ, [(70.2,1.63,81.34,2.43), (83.03,1.63,93.325,2.43), (70.2,2.43,71,11.6), (80.54,2.43,81.34,11.6), (83.03,2.43,83.83,11.55), (92.525,2.43,93.325,11.55), (83.03,11.55,93.325,12.35), (70.2,11.6,81.34,12.4)])
A(analog_switch_small, Cont, 71.1, 1.78, 0.16, 0.16, 28, 2, 0.34, 0.34)
A(analog_switch_small, Cont, 84.015, 1.78, 0.16, 0.16, 25, 2, 0.34, 0.34)
A(analog_switch_small, Cont, 70.35, 2.515, 0.16, 0.16, 1, 27, 0, 0.34)
A(analog_switch_small, Cont, 70.69, 2.515, 0.16, 0.16, 1, 27, 0, 0.34)
A(analog_switch_small, Cont, 80.69, 2.515, 0.16, 0.16, 1, 27, 0, 0.34)
A(analog_switch_small, Cont, 81.03, 2.515, 0.16, 0.16, 1, 27, 0, 0.34)
A(analog_switch_small, Cont, 83.18, 2.66, 0.16, 0.16, 1, 26, 0, 0.34)
A(analog_switch_small, Cont, 83.52, 2.66, 0.16, 0.16, 1, 26, 0, 0.34)
A(analog_switch_small, Cont, 92.675, 2.66, 0.16, 0.16, 1, 26, 0, 0.34)
A(analog_switch_small, Cont, 93.015, 2.66, 0.16, 0.16, 1, 26, 0, 0.34)
A(analog_switch_small, Cont, 84.015, 11.7, 0.16, 0.16, 25, 2, 0.34, 0.34)
A(analog_switch_small, Cont, 71.1, 11.75, 0.16, 0.16, 28, 2, 0.34, 0.34)
R(analog_switch_small, Metal1, [(51.36,1.32,52.935,12.48), (56.1,1.32,57.62,12.48), (70.27,1.7,81.27,2.36), (83.1,1.7,93.255,2.36), (70.27,2.36,70.93,11.67), (80.61,2.36,81.27,11.67), (83.1,2.36,83.76,11.62), (92.595,2.36,93.255,11.62), (84.865,3.045,91.48,3.495), (84.865,3.495,85.315,3.81), (91.025,3.495,91.475,3.81), (54.02,3.76,55.165,3.995), (72.215,3.8,79.185,3.995), (84.865,3.81,91.475,3.95), (84.865,3.95,85.315,4.26), (91.025,3.95,91.475,4.26), (54.47,3.995,54.85,5.3), (72.215,3.995,72.46,10.14), (78.94,3.995,79.185,10.14), (84.865,4.26,85.27,10.13), (91.065,4.26,91.475,10.13), (54.045,7.09,55.21,7.33), (54.47,7.33,54.85,8.18), (54.16,9.98,55.315,10.2), (84.865,10.13,91.475,10.34), (72.215,10.14,79.185,10.16), (72.215,10.16,79.25,10.165), (72.2,10.165,79.25,10.37), (83.1,11.62,93.255,12.28), (70.27,11.67,81.27,12.33)])
R(analog_switch_small, Metal1_pin, [(56.1,1.32,57.62,2.485), (51.405,8.385,52.795,12.48)])
R(analog_switch_small, Metal2, [(57.995,1.43,96.07,2.27), (63.525,2.27,96.07,3.225), (67.52,3.225,96.07,3.94), (51.04,3.76,54.72,3.775), (51.04,3.775,55.165,3.98), (54.02,3.98,55.165,3.995), (85.16,4.215,85.985,4.415), (68.885,4.27,73.57,4.47), (85.16,4.415,85.36,9.66), (68.885,4.47,69.085,4.56), (72.56,4.47,72.76,9.71), (65.72,4.56,69.085,4.76), (66.365,6.325,68.91,6.53), (68.705,6.53,68.91,10.025), (54.045,7.09,55.21,7.095), (54.045,7.095,57.11,7.315), (54.045,7.315,55.21,7.33), (56.89,7.315,57.11,8.615), (56.89,8.615,57.615,8.835), (82.26,9.66,86.175,9.86), (72.56,9.71,73.4,9.91), (55.14,9.97,57.55,9.98), (54.16,9.98,57.55,10.19), (72.2,10.165,79.25,10.185), (70.24,10.185,96.07,11.015), (54.16,10.19,55.415,10.2), (58.015,11.015,96.07,12.485), (94.845,12.485,96.07,12.49)])
R(analog_switch_small, Metal2_pin, [(94.445,1.545,96.07,3.75), (51.18,3.76,51.53,3.98), (94.855,10.205,96.07,12.49)])
R(analog_switch_small, pSD, [(83,1.6,93.355,2.46), (83,2.46,83.86,11.52), (92.495,2.46,93.355,11.52), (52.89,3.22,53.01,3.415), (54.37,3.22,54.49,3.415), (52.89,4.825,54.49,4.885), (52.89,4.885,53.01,5.105), (53.01,7.585,54.49,7.765), (53.01,10.465,54.49,10.52), (54.37,10.52,54.49,10.74), (83,11.52,93.355,12.38)])
R(analog_switch_small, DigiBnd, [(54.84,1.32,57.72,12.555)])
A(analog_switch_small, Via1, 71.355, 1.95, 0.19, 0.19, 22, 1, 0.41, 0)
A(analog_switch_small, Via1, 85.665, 3.12, 0.19, 0.19, 13, 1, 0.41, 0)
A(analog_switch_small, Via1, 54.085, 3.79, 0.19, 0.19, 3, 1, 0.41, 0)
A(analog_switch_small, Via1, 54.115, 7.11, 0.19, 0.19, 3, 1, 0.41, 0)
A(analog_switch_small, Via1, 54.235, 9.995, 0.19, 0.19, 3, 1, 0.41, 0)
A(analog_switch_small, Via1, 72.335, 10.17, 0.19, 0.19, 17, 1, 0.41, 0)
A(analog_switch_small, Via1, 84.205, 11.875, 0.19, 0.19, 20, 1, 0.41, 0)
R(analog_switch_small, Metal3, [(70.7,4.91,96,6.9), (70.7,7.47,96.05,9.43), (94.355,9.43,95.905,9.435), (68.86,9.715,82.485,9.98)])
R(analog_switch_small, Metal3_pin, [(94.215,5.37,95.89,6.9), (94.355,7.58,95.815,9.34)])
R(analog_switch_small, NWell, [(69.58,1.01,81.96,3.05), (69.58,3.05,71.63,10.97), (79.8,3.05,81.96,10.96), (85.53,3.545,90.83,3.745), (79.79,10.96,81.96,10.97), (69.58,10.97,81.96,13.02)])
R(analog_switch_small, ThickGateOx, [(57.72,1.32,93.635,12.725)])
analog_switch_small.add(gdstk.Reference(sw_lvl_shift, (55.665,5.79), rotation=3*pi/2))
analog_switch_small.add(gdstk.Reference(sg13cmos5l_inv_4, (56.37,7.7), rotation=pi/2))
analog_switch_small.add(gdstk.Reference(sg13cmos5l_inv_4, (56.37,4.82), rotation=pi/2))
analog_switch_small.add(gdstk.Reference(sg13cmos5l_decap_4, (56.37,10.58), rotation=pi/2))
analog_switch_small.add(gdstk.Reference(sg13cmos5l_decap_4, (56.37,1.46), rotation=pi/2))
analog_switch_small.add(gdstk.Reference(sg13cmos5l_antennanp, (56.37,3.38), rotation=pi/2))
analog_switch_small.add(gdstk.Reference(sg13_hv_nmos_u4hmwb, (75.71,7.09)))
analog_switch_small.add(gdstk.Reference(via_nn8lkn, (74.57,8.63), x_reflection=True))
analog_switch_small.add(gdstk.Reference(via_nn8lkn, (73.325,5.725), x_reflection=True))
analog_switch_small.add(gdstk.Reference(via_y6zd6n, (68.805,9.47), rotation=pi))
analog_switch_small.add(gdstk.Reference(sg13_hv_pmos_hvfxc8, (88.17,7.04)))
analog_switch_small.add(gdstk.Reference(via_nn8lkn, (78.075,5.795), x_reflection=True))
analog_switch_small.add(gdstk.Reference(via_nn8lkn, (76.88,8.56), x_reflection=True))
analog_switch_small.add(gdstk.Reference(via_nn8lkn, (75.675,5.78), x_reflection=True))
analog_switch_small.add(gdstk.Reference(via_nn8lkn, (85.94,8.56)))
analog_switch_small.add(gdstk.Reference(via_y6zd6n, (82.78,9.845), rotation=pi/2))
analog_switch_small.add(gdstk.Reference(via_nn8lkn, (87.09,5.805)))
analog_switch_small.add(gdstk.Reference(via_nn8lkn, (89.34,5.82)))
analog_switch_small.add(gdstk.Reference(via_nn8lkn, (88.105,8.525)))
analog_switch_small.add(gdstk.Reference(via_nn8lkn, (90.355,8.51)))
analog_switch_small.add(gdstk.Label('dvdd', (52.1,10.432), layer=8, texttype=25))
analog_switch_small.add(gdstk.Label('dvss', (56.86,1.902), layer=8, texttype=25))
analog_switch_small.add(gdstk.Label('avss', (95.462,11.347), layer=10, texttype=25))
analog_switch_small.add(gdstk.Label('enable', (51.355,3.87), layer=10, texttype=25))
analog_switch_small.add(gdstk.Label('avdd', (95.257,2.647), layer=10, texttype=25))
analog_switch_small.add(gdstk.Label('in', (95.052,6.135), layer=30, texttype=25))
analog_switch_small.add(gdstk.Label('out', (95.085,8.46), layer=30, texttype=25))

lib.write_gds('analog_switch_small.gds')
